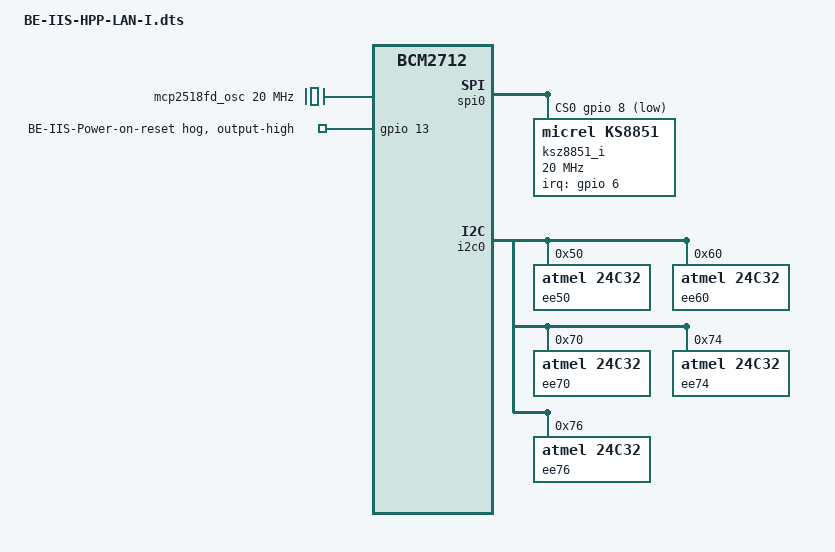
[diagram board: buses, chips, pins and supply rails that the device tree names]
/dts-v1/;
/plugin/;

#include <dt-bindings/interrupt-controller/irq.h>
#include <dt-bindings/gpio/gpio.h>

/ {
	compatible = "brcm,bcm2835", "brcm,bcm2711", "brcm,bcm2712";

	fragment@0 {
		target = <&spi0>;
		__overlay__ {
			#address-cells = <1>;
			#size-cells = <0>;
			status = "okay";

			/* Reserve all three chip-selects already in the boot overlay */
			num-cs = <3>;
			cs-gpios =
				<&gpio 8  GPIO_ACTIVE_LOW>,   /* I   -> CE0 */
				<&gpio 7  GPIO_ACTIVE_LOW>,   /* II  -> CE1 */
				<&gpio 16 GPIO_ACTIVE_LOW>;   /* III -> CS2 */

			ksz8851_i: ethernet@0 {
				compatible = "micrel,ks8851";
				reg = <0>;
				
			    	pinctrl-names = "default";
			    	pinctrl-0 = <&be_iis_shared_irq_pins>;
				
				interrupt-parent = <&gpio>;
				interrupts = <6 IRQ_TYPE_EDGE_FALLING>;

				spi-max-frequency = <20000000>;
				status = "okay";
			};
		};
	};

	/* disable spidev on CE0 because CE0 is used by this BE-IIS HAT++ device */
	fragment@1 {
		target = <&spidev0>;
		__overlay__ {
			status = "disabled";
		};
	};
	/* GPIO5,GPIO6,GPIO12,GPIO17,GPIO27 as input, no pull (IRQ pin) */
	fragment@2 {
	    target = <&gpio>;
	    __overlay__ {
		be_iis_shared_irq_pins: be-iis-shared-irq-pins {
			brcm,pins = <5 6 12 17 27>;
			brcm,function = <0 0 0 0 0>;
			brcm,pull = <2 2 2 2 2>;
		};
	    };
	};
	
	/* disable spidev on CE1 to keep the second chip-select free for BE-IIS HAT++ use */
	fragment@3 {
		target = <&spidev1>;
		__overlay__ {
		status = "disabled";
		};
	};

	fragment@9 {
	target = <&i2c0>;
	__overlay__ {
		#address-cells = <1>;
		#size-cells = <0>;

		ee50: eeprom@50 {
			compatible = "atmel,24c32";
			reg = <0x50>;
			status = "okay";
		};
		
		ee60: eeprom@60 {
			compatible = "atmel,24c32";
			reg = <0x60>;
			status = "okay";
		};

		ee70: eeprom@70 {
			compatible = "atmel,24c32";
			reg = <0x70>;
			status = "okay";
		};
		
		ee74: eeprom@74 {
			compatible = "atmel,24c32";
			reg = <0x74>;
			status = "okay";
		};
		
		ee76: eeprom@76 {
			compatible = "atmel,24c32";
			reg = <0x76>;
			status = "okay";
		};
	};
};

fragment@10 {
	target = <&gpio>;
	__overlay__ {
		be_iis_porst: be-iis-porst {
			gpio-hog;
			gpios = <13 GPIO_ACTIVE_HIGH>;
			output-high;
			line-name = "BE-IIS-Power-on-reset";
		};
	};
};

fragment@22 {
	target-path = "/";
	__overlay__ {
		mcp2518fd_osc: mcp2518fd_osc {
			compatible = "fixed-clock";
			#clock-cells = <0>;
			clock-frequency = <20000000>;
		};
	};
};

fragment@30 {
	target-path = "/";
	__overlay__ {
		sc16is752_clk: sc16is752_clk {
			compatible = "fixed-clock";
			#clock-cells = <0>;
			clock-frequency = <3027000>;
		};
	};
};

	__overrides__ {
		speed   = <&ksz8851_i>, "spi-max-frequency:0";
	};
};
